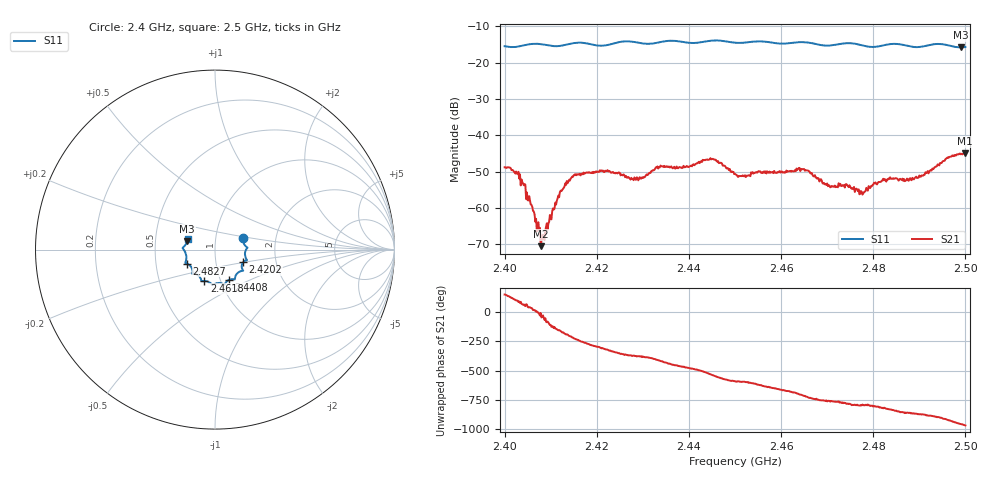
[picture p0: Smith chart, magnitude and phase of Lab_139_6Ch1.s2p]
# Hz S RI R 50
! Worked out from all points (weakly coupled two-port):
!   601 points, 2.4 GHz to 2.5 GHz, reference 50 ohm
!   highest |S21| = -44.98 dB at 2.4998 GHz (marker M1); lowest = -70.5 dB at 2.4078 GHz (marker M2)
!   lowest |S11| = -15.8 dB at 2.499 GHz (marker M3), VSWR 1.39, Z = 36.5 + j3.51 ohm
!   |S11| at or under -10 dB: start of sweep to end of sweep
!   S12 and S22 are empty: the file has one direction only
!   S11 on the Smith chart (normalised r, x): 2.4 GHz: 1.36, +0.17; 2.4202 GHz: 1.36, -0.20; 2.4408 GHz: 1.10, -0.38; 2.4618 GHz: 0.84, -0.30; 2.4827 GHz: 0.72, -0.12; 2.5 GHz: 0.73, +0.09
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2.4e9  0.1561 0.0622  -0.0031 0.00192  0 0  0 0
2.403833e9  0.1699 0.0201  0.000945 0.00208  0 0  0 0
2.407833e9  0.1794 0.00873  0.000297 -4.27e-05  0 0  0 0
2.408333e9  0.1778 0.00663  0.000372 -0.000211  0 0  0 0
2.413e9  0.1696 -0.0409  -0.00198 0.000163  0 0  0 0
2.416667e9  0.1782 -0.0593  -0.000856 0.00282  0 0  0 0
2.420167e9  0.1571 -0.0705  0.00141 0.00285  0 0  0 0
2.4285e9  0.1491 -0.1188  0.00236 -0.000628  0 0  0 0
2.433333e9  0.112 -0.152  0.00228 -0.00266  0 0  0 0
2.440833e9  0.0787 -0.1686  -0.00215 -0.00329  0 0  0 0
2.445167e9  0.0532 -0.1939  -0.00475 -0.000195  0 0  0 0
2.45e9  0.0278 -0.1859  -0.00193 0.00224  0 0  0 0
2.461833e9  -0.06 -0.1753  0.00228 0.00227  0 0  0 0
2.466667e9  -0.0771 -0.1684  0.00294 -0.000815  0 0  0 0
2.470667e9  -0.1017 -0.1389  0.00141 -0.00131  0 0  0 0
2.4775e9  -0.1251 -0.1199  0.0004 -0.00162  0 0  0 0
2.482667e9  -0.1572 -0.0776  -0.000483 -0.00239  0 0  0 0
2.483333e9  -0.1613 -0.0763  -0.000787 -0.00243  0 0  0 0
2.49e9  -0.1626 -0.0229  -0.00247 -0.00135  0 0  0 0
2.499e9  -0.1546 0.0469  -0.00325 0.00443  0 0  0 0
2.499833e9  -0.1522 0.0593  -0.00244 0.00508  0 0  0 0
2.5e9  -0.152 0.0616  -0.00227 0.00515  0 0  0 0
